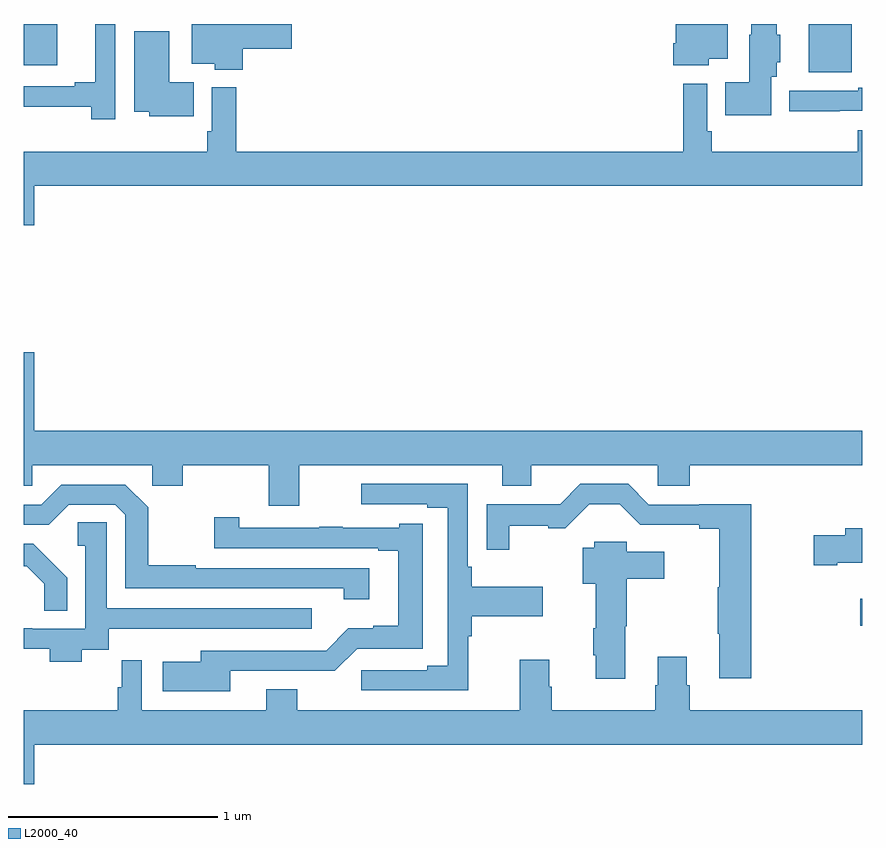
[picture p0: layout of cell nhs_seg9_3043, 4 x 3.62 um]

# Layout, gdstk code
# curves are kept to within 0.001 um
import gdstk
lib = gdstk.Library(unit=1e-6, precision=1e-09)
def R(c, l, rs):  # rectangles x0, y0, x1, y1
    for r in rs: c.add(gdstk.rectangle(r[:2], r[2:], *l))
def P(c, l, *ps):  # polygons
    for p in ps: c.add(gdstk.Polygon(p, *l))
L2000_40 = (2000, 40)

nhs_seg9_3043 = lib.new_cell('nhs_seg9_3043')
R(nhs_seg9_3043, L2000_40, [(288.99,1219.63,289,1219.759), (288.743,1222.271,288.949,1222.5)])
P(nhs_seg9_3043, L2000_40, [(285.16,1222.5),(285,1222.5),(285,1222.334),(285.002,1222.334),(285.002,1222.304),(285.16,1222.304)],
  [(288.268,1222.334),(288.358,1222.334),(288.358,1222.5),(288.11,1222.5),(288.11,1222.408),(288.098,1222.408),(288.098,1222.304),(288.268,1222.304)],
  [(286.046,1222.382),(286.279,1222.382),(286.279,1222.5),(285.803,1222.5),(285.803,1222.31),(285.912,1222.31),(285.912,1222.283),(286.046,1222.283)],
  [(288.565,1222.248),(288.592,1222.248),(288.592,1222.317),(288.607,1222.317),(288.607,1222.449),(288.592,1222.449),(288.592,1222.5),(288.47,1222.5),(288.47,1222.449),(288.461,1222.449),(288.461,1222.222),(288.346,1222.222),(288.346,1222.064),(288.565,1222.064)],
  [(285.438,1222.5),(285.341,1222.5),(285.341,1222.223),(285.245,1222.223),(285.245,1222.203),(285,1222.203),(285,1222.106),(285.322,1222.106),(285.322,1222.047),(285.438,1222.047)],
  [(285.812,1222.222),(285.694,1222.222),(285.694,1222.466),(285.527,1222.466),(285.527,1222.082),(285.6,1222.082),(285.6,1222.061),(285.812,1222.061)],
  [(285.052,1221.728),(289,1221.728),(289,1221.994),(288.977,1221.994),(288.977,1221.892),(288.281,1221.892),(288.281,1221.988),(288.261,1221.988),(288.261,1222.216),(288.145,1222.216),(288.145,1221.892),(286.013,1221.892),(286.013,1222.198),(285.897,1222.198),(285.897,1221.988),(285.877,1221.988),(285.877,1221.892),(285,1221.892),(285,1221.54),(285.052,1221.54)],
  [(288.893,1222.086),(289,1222.086),(289,1222.195),(288.98,1222.195),(288.98,1222.182),(288.651,1222.182),(288.651,1222.085),(288.893,1222.085)],
  [(285.052,1220.935),(285,1220.935),(285,1220.298),(285.042,1220.298),(285.042,1220.396),(285.613,1220.396),(285.613,1220.298),(285.759,1220.298),(285.759,1220.396),(286.168,1220.396),(286.168,1220.202),(286.315,1220.202),(286.315,1220.396),(287.282,1220.396),(287.282,1220.297),(287.422,1220.297),(287.422,1220.396),(288.024,1220.396),(288.024,1220.298),(288.176,1220.298),(288.176,1220.396),(289,1220.396),(289,1220.56),(285.052,1220.56)],
  [(288.47,1220.21),(288.221,1220.21),(288.221,1220.208),(287.982,1220.208),(287.883,1220.307),(287.655,1220.307),(287.558,1220.21),(287.208,1220.21),(287.208,1219.992),(287.317,1219.992),(287.317,1220.107),(287.501,1220.107),(287.501,1220.095),(287.582,1220.095),(287.697,1220.21),(287.842,1220.21),(287.94,1220.112),(288.221,1220.112),(288.221,1220.092),(288.317,1220.092),(288.317,1219.815),(288.31,1219.815),(288.31,1219.592),(288.317,1219.592),(288.317,1219.38),(288.47,1219.38)],
  [(287.121,1219.58),(287.138,1219.58),(287.138,1219.676),(287.476,1219.676),(287.476,1219.816),(287.138,1219.816),(287.138,1219.912),(287.118,1219.912),(287.118,1220.307),(286.611,1220.307),(286.611,1220.211),(286.925,1220.211),(286.925,1220.193),(287.022,1220.193),(287.022,1219.439),(286.925,1219.439),(286.925,1219.419),(286.611,1219.419),(286.611,1219.323),(287.121,1219.323)],
  [(286.648,1219.905),(285.821,1219.905),(285.821,1219.918),(285.595,1219.918),(285.595,1220.195),(285.486,1220.304),(285.18,1220.304),(285.084,1220.208),(285,1220.208),(285,1220.112),(285.12,1220.112),(285.216,1220.208),(285.438,1220.208),(285.486,1220.16),(285.486,1219.809),(286.527,1219.809),(286.527,1219.758),(286.648,1219.758)],
  [(285.985,1219.416),(286.484,1219.415),(286.59,1219.521),(286.903,1219.521),(286.903,1220.116),(286.791,1220.116),(286.791,1220.097),(286.523,1220.097),(286.523,1220.102),(286.411,1220.102),(286.411,1220.097),(286.029,1220.097),(286.029,1220.149),(285.909,1220.149),(285.909,1220.001),(286.691,1220.001),(286.691,1219.989),(286.787,1219.989),(286.787,1219.63),(286.668,1219.63),(286.668,1219.618),(286.549,1219.618),(286.443,1219.512),(285.845,1219.512),(285.845,1219.459),(285.663,1219.459),(285.663,1219.319),(285.985,1219.319)],
  [(285.277,1219.517),(285.406,1219.517),(285.406,1219.616),(285.675,1219.616),(285.675,1219.617),(286.375,1219.617),(286.375,1219.713),(285.397,1219.713),(285.397,1220.015),(285.396,1220.015),(285.396,1220.123),(285.258,1220.123),(285.258,1220.012),(285.293,1220.012),(285.293,1219.617),(285.041,1219.617),(285.041,1219.619),(285,1219.619),(285,1219.521),(285.125,1219.521),(285.125,1219.46),(285.277,1219.46)],
  [(288.88,1219.931),(289,1219.931),(289,1220.095),(288.917,1220.095),(288.917,1220.061),(288.768,1220.061),(288.768,1219.919),(288.88,1219.919)],
  [(287.869,1219.628),(287.877,1219.628),(287.877,1219.855),(288.055,1219.855),(288.055,1219.984),(287.877,1219.984),(287.877,1220.032),(287.722,1220.032),(287.722,1220.002),(287.666,1220.002),(287.666,1219.832),(287.729,1219.832),(287.729,1219.619),(287.717,1219.619),(287.717,1219.489),(287.729,1219.489),(287.729,1219.377),(287.869,1219.377)],
  [(285.208,1219.859),(285.124,1219.942),(285.125,1219.943),(285.046,1220.022),(285,1220.022),(285,1219.914),(285.015,1219.914),(285.099,1219.831),(285.099,1219.702),(285.208,1219.702)],
  [(285.052,1219.064),(289,1219.064),(289,1219.228),(288.176,1219.228),(288.176,1219.347),(288.163,1219.347),(288.163,1219.483),(288.023,1219.483),(288.023,1219.347),(288.011,1219.347),(288.011,1219.228),(287.519,1219.228),(287.519,1219.34),(287.506,1219.34),(287.506,1219.468),(287.366,1219.468),(287.366,1219.228),(286.305,1219.228),(286.305,1219.327),(286.157,1219.327),(286.157,1219.228),(285.564,1219.228),(285.564,1219.465),(285.467,1219.465),(285.467,1219.338),(285.448,1219.338),(285.448,1219.228),(285,1219.228),(285,1218.876),(285.052,1218.876)])

lib.write_gds('nhs_seg9_3043.gds')
